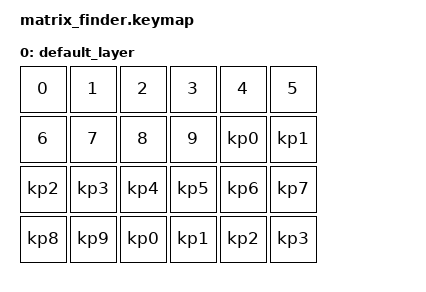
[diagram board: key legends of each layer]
/ {
    keymap {
        compatible = "zmk,keymap";
        default_layer {
            bindings = <
                &kp NUMBER_0 &kp NUMBER_1 &kp NUMBER_2 &kp NUMBER_3 &kp NUMBER_4 &kp NUMBER_5
                &kp NUMBER_6 &kp NUMBER_7 &kp NUMBER_8 &kp NUMBER_9 &kp KP_N0 &kp KP_N1
                &kp KP_N2 &kp KP_N3 &kp KP_N4 &kp KP_N5 &kp KP_N6 &kp KP_N7
                &kp KP_N8 &kp KP_N9 &kp KP_N0 &kp KP_N1 &kp KP_N2 &kp KP_N3
            >;
        };
    };
};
